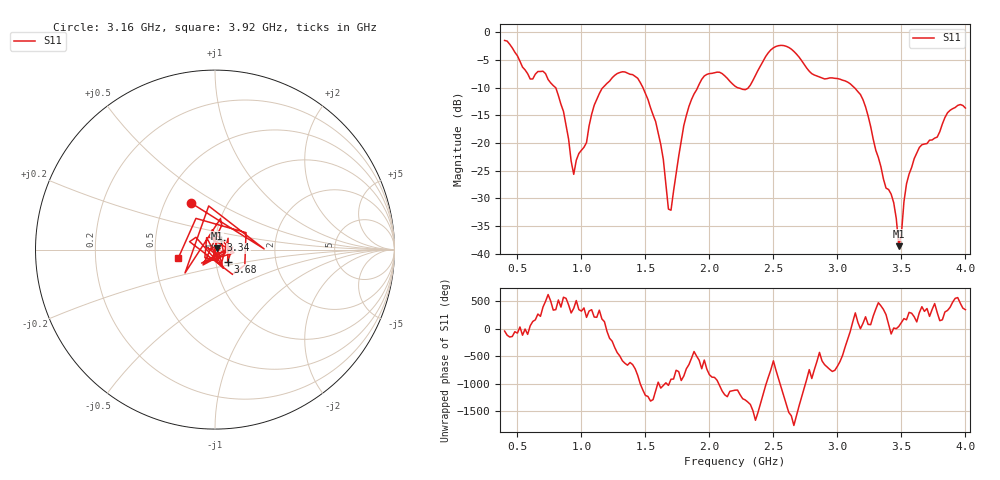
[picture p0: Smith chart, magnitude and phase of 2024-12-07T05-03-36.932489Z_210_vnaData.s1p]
!Created with skrf (http://scikit-rf.org).
# Hz S RI R 50.0
!freq ReS11 ImS11
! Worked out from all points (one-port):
!   181 points, 400 MHz to 4 GHz, reference 50 ohm
!   lowest |S11| = -38.6 dB at 3.48 GHz (marker M1), VSWR 1.02, Z = 50.9 + j0.816 ohm
!   |S11| at or under -10 dB: 797.5 MHz to 1.168 GHz (370.9 MHz wide, 37.7 % of centre); 1.48 GHz to 1.908 GHz (427.7 MHz wide, 25.2 % of centre); 3.131 GHz to end of sweep (the widest 3 of 4)
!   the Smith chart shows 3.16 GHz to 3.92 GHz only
!   S11 on the Smith chart (normalised r, x): 3.16 GHz: 0.68, +0.38; 3.34 GHz: 1.06, +0.11; 3.68 GHz: 1.14, -0.16; 3.92 GHz: 0.66, -0.06
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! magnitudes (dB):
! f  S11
! 400 MHz  -1.5
! 600 MHz  -8.5
! 720 MHz  -7.5
! 860 MHz  -14.3
! 940 MHz  -25.7
! 1.14 GHz  -11.1
! 1.3 GHz  -7.3
! 1.52 GHz  -12.2
! 1.62 GHz  -20.3
! 1.68 GHz  -31.9
! 1.7 GHz  -32.1
! 1.76 GHz  -22.4
! 1.84 GHz  -13.4
! 1.96 GHz  -7.9
! 2.2 GHz  -9.8
! 2.3 GHz  -10.2
! 2.5 GHz  -2.8
! 2.66 GHz  -3.5
! 2.8 GHz  -7.5
! 3.1 GHz  -9.3
! 3.16 GHz  -10.7
! 3.34 GHz  -24.3
! 3.44 GHz  -30.8
! 3.48 GHz  -38.6
! 3.56 GHz  -25.6
! 3.68 GHz  -20.2
! 3.92 GHz  -13.6
! 4 GHz  -13.7
